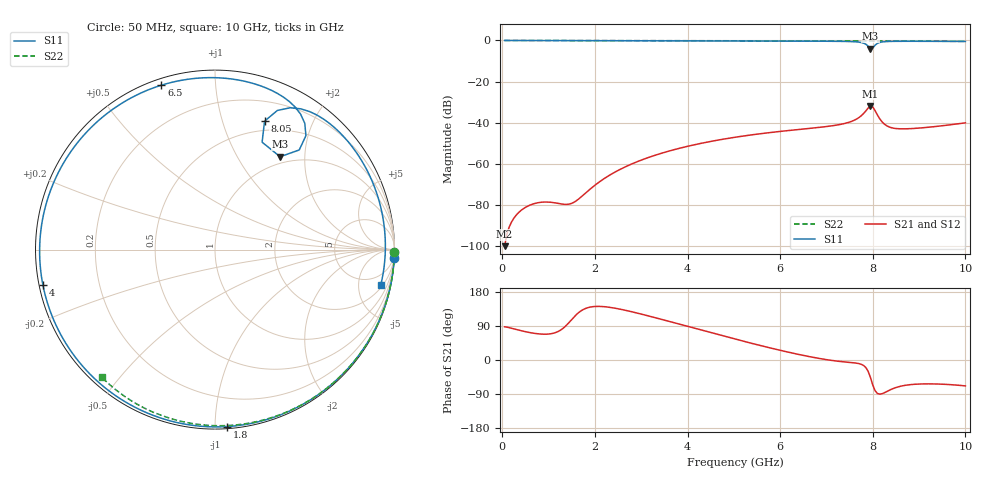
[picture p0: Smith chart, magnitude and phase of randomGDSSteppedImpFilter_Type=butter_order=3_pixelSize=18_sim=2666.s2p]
! freq	dB(S11)	phase(S11)	dB(S12)	phase(S12)
!  dB(S21)	phase(S21)	dB(S22)	phase(S22)
!S-par simulation data
#  GHz  S  DB  R 50
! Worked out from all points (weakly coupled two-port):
!   200 points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, 50 MHz to 10 GHz, reference 50 ohm
!   highest |S21| = -31.91 dB at 7.95 GHz (marker M1); lowest = -100.0 dB at 50 MHz (marker M2)
!   lowest |S11| = -4.0 dB at 7.95 GHz (marker M3), VSWR 4.43, Z = 44.6 + j76.8 ohm
!   |S11| at or under -10 dB: nowhere
!   |S22| runs from -0.4 to 0.0 dB; largest |S21 - S12| = 0
!   S11 on the Smith chart (normalised r, x): 50 MHz: 0, -44; 1.8 GHz: 0.01, -1.07; 4 GHz: 0.01, -0.10; 6.5 GHz: 0.03, +0.73; 8.05 GHz: 0.40, +1.38; 10 GHz: 2.43, -8.84
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0.05  -0.00 -2.6  -100.01 87.6  -100.01 87.6  -0.00 -0.8
0.5  -0.03 -25.3  -81.15 74.7  -81.15 74.7  -0.01 -7.6
0.95  -0.06 -47.3  -78.55 68.1  -78.55 68.1  -0.02 -14.3
1.45  -0.09 -70.6  -79.54 100.1  -79.54 100.1  -0.03 -21.8
1.75  -0.10 -83.9  -75.15 133.3  -75.15 133.3  -0.03 -26.2
1.8  -0.10 -86.0  -74.16 136.1  -74.16 136.1  -0.03 -27.0
2.5  -0.13 -114.6  -63.19 135.2  -63.19 135.2  -0.05 -37.1
3.4  -0.16 -147.7  -55.09 108.5  -55.09 108.5  -0.07 -49.9
4  -0.19 -168.2  -51.47 88.7  -51.47 88.7  -0.08 -58.2
5.05  -0.24 157.0  -46.97 54.5  -46.97 54.5  -0.11 -72.2
5.75  -0.27 133.7  -44.86 32.9  -44.86 32.9  -0.14 -81.3
6.5  -0.32 108.0  -43.06 12.1  -43.06 12.1  -0.17 -90.7
6.7  -0.34 100.9  -42.61 7.3  -42.61 7.3  -0.18 -93.1
7.5  -0.53 70.3  -39.68 -6.4  -39.68 -6.4  -0.23 -102.8
7.85  -1.81 51.4  -34.25 -19.8  -34.25 -19.8  -0.25 -106.9
7.95  -3.99 55.0  -31.91 -46.2  -31.91 -46.2  -0.26 -108.0
8  -3.69 66.3  -32.34 -66.1  -32.34 -66.1  -0.26 -108.6
8.05  -2.30 68.9  -34.11 -81.0  -34.11 -81.0  -0.26 -109.2
8.2  -0.74 58.6  -39.55 -88.9  -39.55 -88.9  -0.27 -111.0
8.35  -0.48 50.2  -42.02 -80.2  -42.02 -80.2  -0.28 -112.7
9.1  -0.41 19.8  -42.41 -63.1  -42.41 -63.1  -0.35 -121.3
10  -0.50 -12.0  -40.05 -68.3  -40.05 -68.3  -0.44 -131.5
